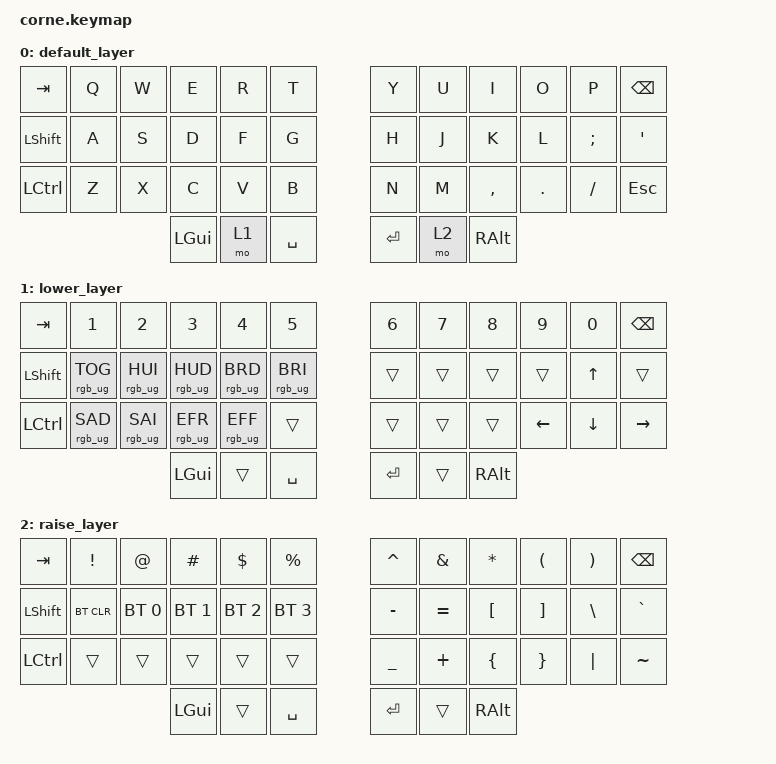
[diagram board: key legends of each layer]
/*
 * Copyright (c) 2020 The ZMK Contributors
 *
 * SPDX-License-Identifier: MIT
 */

#include <dt-bindings/led/led.h>
#include <behaviors.dtsi>
#include <dt-bindings/zmk/bt.h>
#include <dt-bindings/zmk/keys.h>
#include <dt-bindings/zmk/rgb.h>

&pinctrl {
    spi3_default: spi3_default {
        group1 { psels = <NRF_PSEL(SPIM_MOSI, 1, 6)>; };
    };

    spi3_sleep: spi3_sleep {
        group1 {
            psels = <NRF_PSEL(SPIM_MOSI, 1, 6)>;
            low-power-enable;
        };
    };
};

&spi3 {
    compatible = "nordic,nrf-spim";
    status = "okay";
    pinctrl-0 = <&spi3_default>;
    pinctrl-1 = <&spi3_sleep>;
    pinctrl-names = "default", "sleep";

    led_strip: ws2812@0 {
        compatible = "worldsemi,ws2812-spi";

        /* SPI */

        reg = <0>;
        spi-max-frequency = <4000000>;

        /* WS2812 */

        chain-length = <27>;
        spi-one-frame = <0x70>;
        spi-zero-frame = <0x40>;
        color-mapping = <LED_COLOR_ID_GREEN LED_COLOR_ID_RED LED_COLOR_ID_BLUE>;
    };
};

/ {
    chosen { zmk,underglow = &led_strip; };

    keymap {
        compatible = "zmk,keymap";

        default_layer {
            // -----------------------------------------------------------------------------------------
            // |  TAB |  Q  |  W  |  E  |  R  |  T  |   |  Y  |  U   |  I  |  O  |  P  | BKSP |
            // | CTRL |  A  |  S  |  D  |  F  |  G  |   |  H  |  J   |  K  |  L  |  ;  |  '   |
            // | SHFT |  Z  |  X  |  C  |  V  |  B  |   |  N  |  M   |  ,  |  .  |  /  | ESC  |
            //                    | GUI | LWR | SPC |   | ENT | RSE  | ALT |

            bindings = <
&kp TAB     &kp Q  &kp W  &kp E     &kp R  &kp T        &kp Y    &kp U  &kp I      &kp O    &kp P          &kp BSPC
&kp LSHIFT  &kp A  &kp S  &kp D     &kp F  &kp G        &kp H    &kp J  &kp K      &kp L    &kp SEMICOLON  &kp SQT
&kp LCTRL   &kp Z  &kp X  &kp C     &kp V  &kp B        &kp N    &kp M  &kp COMMA  &kp DOT  &kp FSLH       &kp ESC
                          &kp LGUI  &mo 1  &kp SPACE    &kp RET  &mo 2  &kp RALT
            >;
        };

        lower_layer {
            // -----------------------------------------------------------------------------------------
            // |  TAB |  1  |  2  |  3  |  4  |  5  |   |  6  |  7  |  8  |  9  |  0  | BKSP |
            // | BTCLR| BT1 | BT2 | BT3 | BT4 | BT5 |   | LFT | DWN |  UP | RGT |     |      |
            // | SHFT | TOG | HUI | SAI | BRI | EFF |   |     |     |     |     |     |      |
            //                    | GUI |     | SPC |   | ENT |     | ALT |

            bindings = <
&kp TAB     &kp N1           &kp N2           &kp N3           &kp N4           &kp N5             &kp N6   &kp N7  &kp N8    &kp N9    &kp N0    &kp BSPC
&kp LSHIFT  &rgb_ug RGB_TOG  &rgb_ug RGB_HUI  &rgb_ug RGB_HUD  &rgb_ug RGB_BRD  &rgb_ug RGB_BRI    &trans   &trans  &trans    &trans    &kp UP    &trans
&kp LCTRL   &rgb_ug RGB_SAD  &rgb_ug RGB_SAI  &rgb_ug RGB_EFR  &rgb_ug RGB_EFF  &trans             &trans   &trans  &trans    &kp LEFT  &kp DOWN  &kp RIGHT
                                              &kp LGUI         &trans           &kp SPACE          &kp RET  &trans  &kp RALT
            >;
        };

        raise_layer {
            // -----------------------------------------------------------------------------------------
            // |  TAB |  !  |  @  |  #  |  $  |  %  |   |  ^  |  &  |  *  |  (  |  )  | BKSP |
            // | CTRL |     |     |     |     |     |   |  -  |  =  |  [  |  ]  |  \  |  `   |
            // | SHFT |     |     |     |     |     |   |  _  |  +  |  {  |  }  | "|" |  ~   |
            //                    | GUI |     | SPC |   | ENT |     | ALT |

            bindings = <
&kp TAB     &kp EXCL    &kp AT        &kp HASH      &kp DLLR      &kp PRCNT       &kp CARET  &kp AMPS   &kp ASTRK  &kp LPAR  &kp RPAR  &kp BSPC
&kp LSHIFT  &bt BT_CLR  &bt BT_SEL 0  &bt BT_SEL 1  &bt BT_SEL 2  &bt BT_SEL 3    &kp MINUS  &kp EQUAL  &kp LBKT   &kp RBKT  &kp BSLH  &kp GRAVE
&kp LCTRL   &trans      &trans        &trans        &trans        &trans          &kp UNDER  &kp PLUS   &kp LBRC   &kp RBRC  &kp PIPE  &kp TILDE
                                      &kp LGUI      &trans        &kp SPACE       &kp RET    &trans     &kp RALT
            >;
        };
    };
};
